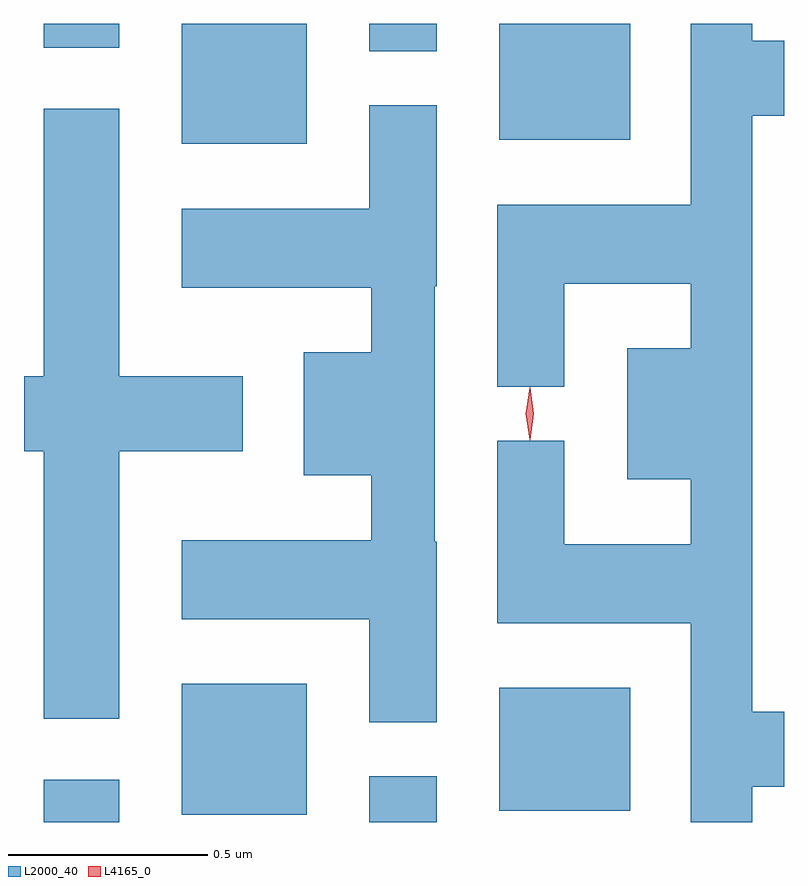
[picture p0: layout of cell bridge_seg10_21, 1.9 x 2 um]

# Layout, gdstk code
import gdstk
lib = gdstk.Library(unit=1e-6, precision=1e-09)
def R(c, l, rs):  # rectangles x0, y0, x1, y1
    for r in rs: c.add(gdstk.rectangle(r[:2], r[2:], *l))
def P(c, l, *ps):  # polygons
    for p in ps: c.add(gdstk.Polygon(p, *l))
L2000_40 = (2000, 40)
L4165_0 = (4165, 0)

bridge_seg10_21 = lib.new_cell('bridge_seg10_21')
R(bridge_seg10_21, L2000_40, [(1786.446,2159.747,1786.634,2159.854), (1787.261,2159.747,1787.429,2159.863), (1786.791,2159.766,1787.104,2160.094), (1787.586,2159.776,1787.914,2160.084), (1786.791,2161.446,1787.104,2161.747), (1787.586,2161.456,1787.914,2161.747), (1787.261,2161.678,1787.429,2161.747), (1786.446,2161.686,1786.634,2161.747)])
P(bridge_seg10_21, L2000_40, [(1788.219,2159.836),(1788.299,2159.836),(1788.299,2160.024),(1788.219,2160.024),(1788.219,2161.516),(1788.299,2161.516),(1788.299,2161.704),(1788.219,2161.704),(1788.219,2161.747),(1788.066,2161.747),(1788.066,2161.294),(1787.581,2161.294),(1787.581,2160.838),(1787.749,2160.838),(1787.749,2161.096),(1788.066,2161.096),(1788.066,2160.934),(1787.906,2160.934),(1787.906,2160.606),(1788.066,2160.606),(1788.066,2160.444),(1787.749,2160.444),(1787.749,2160.703),(1787.581,2160.703),(1787.581,2160.246),(1788.066,2160.246),(1788.066,2159.747),(1788.219,2159.747)],
  [(1787.429,2160.45),(1787.424,2160.45),(1787.424,2161.09),(1787.429,2161.09),(1787.429,2161.543),(1787.261,2161.543),(1787.261,2161.284),(1786.791,2161.284),(1786.791,2161.086),(1787.266,2161.086),(1787.266,2160.924),(1787.096,2160.924),(1787.096,2160.616),(1787.266,2160.616),(1787.266,2160.454),(1786.791,2160.454),(1786.791,2160.256),(1787.261,2160.256),(1787.261,2159.998),(1787.429,2159.998)],
  [(1786.634,2160.676),(1786.944,2160.676),(1786.944,2160.864),(1786.634,2160.864),(1786.634,2161.534),(1786.446,2161.534),(1786.446,2160.864),(1786.396,2160.864),(1786.396,2160.676),(1786.446,2160.676),(1786.446,2160.006),(1786.634,2160.006)])
P(bridge_seg10_21, L4165_0, [(1787.662,2160.704),(1787.662,2160.705),(1787.652,2160.77),(1787.662,2160.835),(1787.662,2160.836),(1787.663,2160.835),(1787.672,2160.77),(1787.663,2160.705)])

lib.write_gds('bridge_seg10_21.gds')
